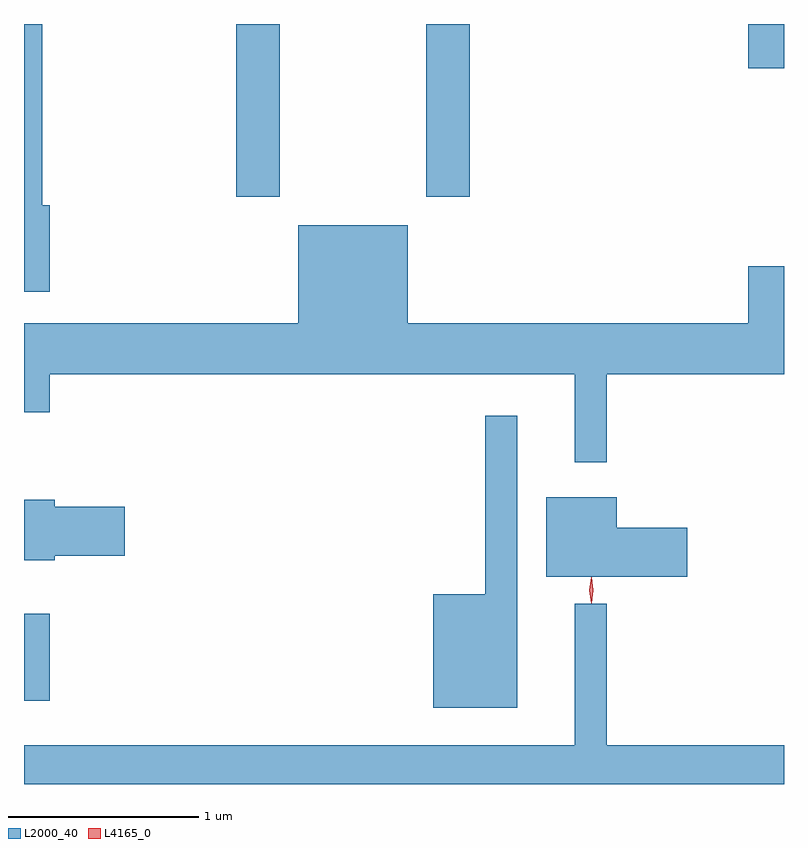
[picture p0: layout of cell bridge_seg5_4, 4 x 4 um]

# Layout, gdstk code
import gdstk
lib = gdstk.Library(unit=1e-6, precision=1e-09)
def R(c, l, rs):  # rectangles x0, y0, x1, y1
    for r in rs: c.add(gdstk.rectangle(r[:2], r[2:], *l))
def P(c, l, *ps):  # polygons
    for p in ps: c.add(gdstk.Polygon(p, *l))
L2000_40 = (2000, 40)
L4165_0 = (4165, 0)

bridge_seg5_4 = lib.new_cell('bridge_seg5_4')
R(bridge_seg5_4, L2000_40, [(1689.783,1443.976,1689.919,1444.434), (1690.901,1446.631,1691.129,1447.539), (1691.901,1446.631,1692.129,1447.539), (1693.596,1447.306,1693.783,1447.539)])
P(bridge_seg5_4, L2000_40, [(1689.919,1446.584),(1689.879,1446.584),(1689.879,1447.539),(1689.783,1447.539),(1689.783,1446.131),(1689.919,1446.131)],
  [(1692.849,1445.696),(1693.783,1445.696),(1693.783,1446.264),(1693.596,1446.264),(1693.596,1445.964),(1691.804,1445.964),(1691.804,1446.479),(1691.226,1446.479),(1691.226,1445.964),(1689.783,1445.964),(1689.783,1445.496),(1689.919,1445.496),(1689.919,1445.696),(1692.681,1445.696),(1692.681,1445.233),(1692.849,1445.233)],
  [(1692.379,1445.478),(1692.211,1445.478),(1692.211,1444.539),(1691.936,1444.539),(1691.936,1443.941),(1692.379,1443.941)],
  [(1693.274,1444.889),(1692.904,1444.889),(1692.904,1445.049),(1692.531,1445.049),(1692.531,1444.631),(1693.274,1444.631)],
  [(1689.944,1444.741),(1690.314,1444.741),(1690.314,1444.999),(1689.944,1444.999),(1689.944,1445.034),(1689.783,1445.034),(1689.783,1444.716),(1689.944,1444.716)],
  [(1693.783,1443.744),(1692.849,1443.744),(1692.849,1444.488),(1692.681,1444.488),(1692.681,1443.744),(1689.783,1443.744),(1689.783,1443.539),(1693.783,1443.539)])
P(bridge_seg5_4, L4165_0, [(1692.769,1444.49),(1692.769,1444.49),(1692.759,1444.558),(1692.769,1444.626),(1692.769,1444.626),(1692.77,1444.626),(1692.779,1444.558),(1692.77,1444.49)],
  [(1692.768,1444.493),(1692.768,1444.493),(1692.758,1444.556),(1692.768,1444.619),(1692.768,1444.62),(1692.769,1444.619),(1692.778,1444.556),(1692.769,1444.493)])

lib.write_gds('bridge_seg5_4.gds')
